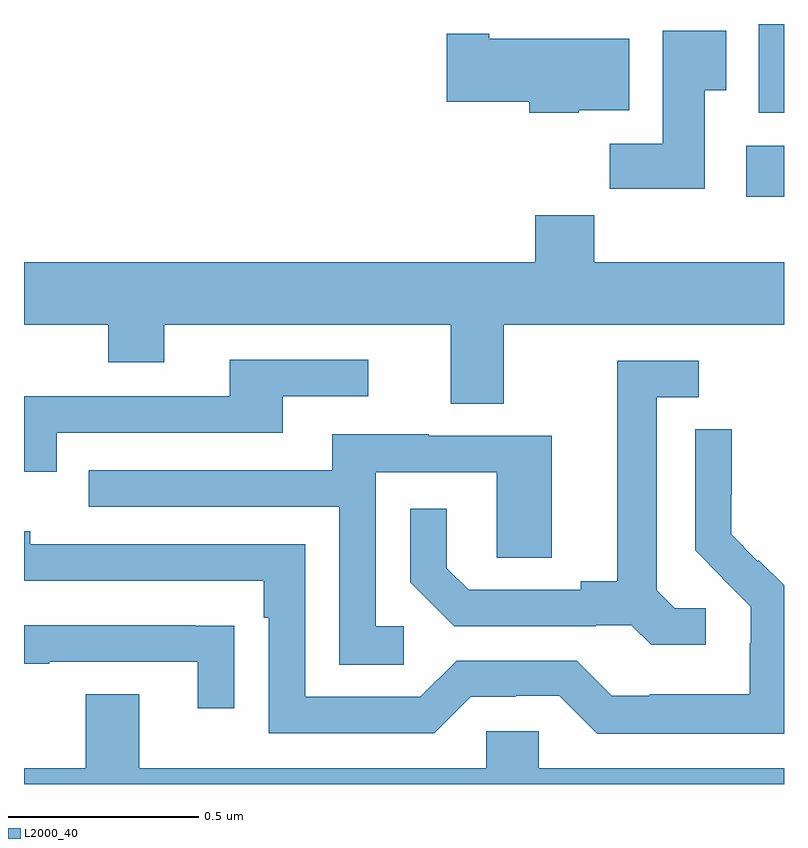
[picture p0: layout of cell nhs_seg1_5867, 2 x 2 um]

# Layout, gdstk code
import gdstk
lib = gdstk.Library(unit=1e-6, precision=1e-09)
def R(c, l, rs):  # rectangles x0, y0, x1, y1
    for r in rs: c.add(gdstk.rectangle(r[:2], r[2:], *l))
def P(c, l, *ps):  # polygons
    for p in ps: c.add(gdstk.Polygon(p, *l))
L2000_40 = (2000, 40)

nhs_seg1_5867 = lib.new_cell('nhs_seg1_5867')
R(nhs_seg1_5867, L2000_40, [(185.901,542.744,186,542.878), (185.933,542.966,186,543.199)])
P(nhs_seg1_5867, L2000_40, [(185.791,543.025),(185.848,543.025),(185.848,543.181),(185.681,543.181),(185.681,542.884),(185.542,542.884),(185.542,542.766),(185.791,542.766)],
  [(185.46,542.972),(185.593,542.972),(185.593,543.16),(185.224,543.16),(185.224,543.173),(185.112,543.173),(185.112,542.995),(185.33,542.995),(185.33,542.966),(185.46,542.966)],
  [(185.263,542.408),(186,542.408),(186,542.572),(185.501,542.572),(185.501,542.696),(185.345,542.696),(185.345,542.572),(184,542.572),(184,542.408),(184.222,542.408),(184.222,542.309),(184.369,542.309),(184.369,542.408),(185.123,542.408),(185.123,542.2),(185.263,542.2)],
  [(184.086,542.124),(184.681,542.124),(184.681,542.22),(184.906,542.22),(184.906,542.316),(184.541,542.316),(184.541,542.22),(184,542.22),(184,542.021),(184.086,542.021)],
  [(185.794,541.662),(185.712,541.662),(185.665,541.709),(185.665,542.217),(185.776,542.217),(185.776,542.313),(185.561,542.313),(185.561,541.733),(185.465,541.733),(185.465,541.71),(185.17,541.71),(185.113,541.767),(185.113,541.924),(185.016,541.924),(185.016,541.73),(185.132,541.614),(185.504,541.614),(185.504,541.617),(185.598,541.617),(185.65,541.565),(185.794,541.565)],
  [(186,541.722),(185.934,541.788),(185.931,541.785),(185.861,541.856),(185.861,541.96),(185.863,541.96),(185.863,542.132),(185.766,542.132),(185.766,541.814),(185.839,541.741),(185.838,541.74),(185.912,541.666),(185.912,541.569),(185.91,541.569),(185.91,541.435),(185.647,541.435),(185.647,541.431),(185.547,541.431),(185.454,541.524),(185.139,541.524),(185.043,541.428),(184.74,541.428),(184.74,541.83),(184.016,541.83),(184.016,541.864),(184,541.864),(184,541.734),(184.631,541.734),(184.631,541.637),(184.644,541.637),(184.644,541.332),(185.079,541.332),(185.175,541.428),(185.294,541.428),(185.294,541.431),(185.409,541.431),(185.509,541.331),(186,541.331)],
  [(184.999,541.614),(184.926,541.614),(184.926,542.019),(185.244,542.019),(185.244,541.795),(185.389,541.795),(185.389,542.115),(185.065,542.115),(185.065,542.119),(184.811,542.119),(184.811,542.025),(184.171,542.025),(184.171,541.929),(184.83,541.929),(184.83,541.513),(184.999,541.513)],
  [(184.553,541.616),(184.451,541.616),(184.451,541.617),(184,541.617),(184,541.516),(184.067,541.516),(184.067,541.521),(184.457,541.521),(184.457,541.398),(184.553,541.398)],
  [(186,541.24),(185.355,541.24),(185.355,541.338),(185.217,541.338),(185.217,541.24),(184.303,541.24),(184.303,541.435),(184.163,541.435),(184.163,541.24),(184,541.24),(184,541.199),(186,541.199)])

lib.write_gds('nhs_seg1_5867.gds')
